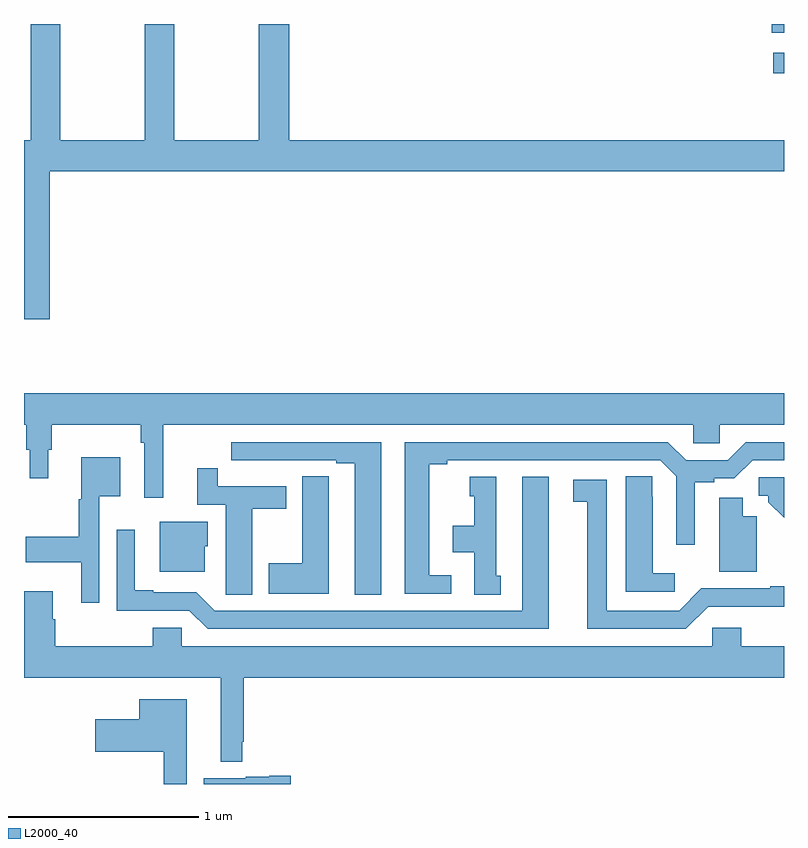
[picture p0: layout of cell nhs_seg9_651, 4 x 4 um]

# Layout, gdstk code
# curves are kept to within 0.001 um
import gdstk
lib = gdstk.Library(unit=1e-6, precision=1e-09)
def R(c, l, rs):  # rectangles x0, y0, x1, y1
    for r in rs: c.add(gdstk.rectangle(r[:2], r[2:], *l))
def P(c, l, *ps):  # polygons
    for p in ps: c.add(gdstk.Polygon(p, *l))
L2000_40 = (2000, 40)

nhs_seg9_651 = lib.new_cell('nhs_seg9_651')
R(nhs_seg9_651, L2000_40, [(146.943,1226.241,147,1226.349), (146.936,1226.453,147,1226.5)])
P(nhs_seg9_651, L2000_40, [(143.135,1225.724),(147,1225.724),(147,1225.888),(144.395,1225.888),(144.395,1226.5),(144.235,1226.5),(144.235,1225.888),(143.79,1225.888),(143.79,1226.5),(143.635,1226.5),(143.635,1225.888),(143.19,1225.888),(143.19,1226.5),(143.035,1226.5),(143.035,1225.888),(143,1225.888),(143,1224.945),(143.135,1224.945)],
  [(143.732,1224.392),(146.523,1224.392),(146.523,1224.294),(146.661,1224.294),(146.661,1224.392),(147,1224.392),(147,1224.556),(143,1224.556),(143,1224.392),(143.011,1224.392),(143.011,1224.258),(143.03,1224.258),(143.03,1224.108),(143.128,1224.108),(143.128,1224.258),(143.147,1224.258),(143.147,1224.392),(143.614,1224.392),(143.614,1224.296),(143.634,1224.296),(143.634,1224.006),(143.732,1224.006)],
  [(144.88,1224.3),(144.09,1224.3),(144.09,1224.204),(144.202,1224.204),(144.202,1224.203),(144.368,1224.203),(144.368,1224.204),(144.644,1224.204),(144.644,1224.189),(144.74,1224.189),(144.74,1223.497),(144.88,1223.497)],
  [(145.249,1223.598),(145.132,1223.598),(145.132,1224.184),(145.228,1224.184),(145.228,1224.204),(146.349,1224.204),(146.433,1224.12),(146.433,1223.76),(146.53,1223.76),(146.53,1224.088),(146.634,1224.088),(146.634,1224.108),(146.739,1224.108),(146.835,1224.204),(147,1224.204),(147,1224.3),(146.799,1224.3),(146.703,1224.204),(146.485,1224.204),(146.389,1224.3),(145.004,1224.3),(145.004,1223.502),(145.249,1223.502)],
  [(143.397,1224.014),(143.506,1224.014),(143.506,1224.22),(143.3,1224.22),(143.3,1224),(143.289,1224),(143.289,1223.801),(143.01,1223.801),(143.01,1223.666),(143.3,1223.666),(143.3,1223.454),(143.397,1223.454)],
  [(144.202,1223.95),(144.379,1223.95),(144.379,1224.066),(144.02,1224.066),(144.02,1224.163),(143.912,1224.163),(143.912,1223.97),(144.062,1223.97),(144.062,1223.608),(144.063,1223.608),(144.063,1223.497),(144.202,1223.497)],
  [(146.425,1223.608),(146.308,1223.608),(146.308,1224.011),(146.307,1224.011),(146.307,1224.119),(146.168,1224.119),(146.168,1223.511),(146.425,1223.511)],
  [(144.604,1224.011),(144.603,1224.011),(144.603,1224.119),(144.464,1224.119),(144.464,1223.661),(144.287,1223.661),(144.287,1223.501),(144.604,1223.501)],
  [(145.51,1223.595),(145.486,1223.595),(145.486,1224.118),(145.346,1224.118),(145.346,1224.015),(145.37,1224.015),(145.37,1223.86),(145.256,1223.86),(145.256,1223.72),(145.37,1223.72),(145.37,1223.497),(145.51,1223.497)],
  [(145.762,1224.118),(145.622,1224.118),(145.622,1223.412),(144.003,1223.412),(143.907,1223.508),(143.68,1223.508),(143.68,1223.521),(143.584,1223.521),(143.584,1223.839),(143.487,1223.839),(143.487,1223.412),(143.871,1223.412),(143.967,1223.316),(145.762,1223.316)],
  [(147,1224.114),(146.868,1224.114),(146.868,1224.018),(146.918,1224.018),(146.918,1223.983),(147,1223.901)],
  [(146.601,1223.433),(147,1223.432),(147,1223.542),(146.927,1223.542),(146.927,1223.529),(146.565,1223.529),(146.448,1223.412),(146.068,1223.412),(146.068,1224.102),(145.89,1224.102),(145.89,1223.986),(145.964,1223.986),(145.964,1223.316),(146.484,1223.316)],
  [(146.857,1223.908),(146.782,1223.908),(146.782,1224.007),(146.66,1224.007),(146.66,1223.618),(146.857,1223.618)],
  [(143.95,1223.751),(143.968,1223.751),(143.968,1223.881),(143.714,1223.881),(143.714,1223.618),(143.95,1223.618)],
  [(144.035,1222.616),(144.149,1222.616),(144.149,1222.723),(144.157,1222.723),(144.157,1223.06),(147,1223.06),(147,1223.224),(146.774,1223.224),(146.774,1223.322),(146.622,1223.322),(146.622,1223.224),(143.829,1223.224),(143.829,1223.322),(143.678,1223.322),(143.678,1223.224),(143.165,1223.224),(143.165,1223.366),(143.152,1223.366),(143.152,1223.515),(143,1223.515),(143,1223.06),(144.035,1223.06)],
  [(143.857,1222.945),(143.606,1222.945),(143.606,1222.84),(143.376,1222.84),(143.376,1222.67),(143.736,1222.67),(143.736,1222.5),(143.857,1222.5)],
  [(144.403,1222.544),(144.29,1222.544),(144.29,1222.537),(144.168,1222.537),(144.168,1222.531),(143.945,1222.531),(143.945,1222.5),(144.403,1222.5)])

lib.write_gds('nhs_seg9_651.gds')
